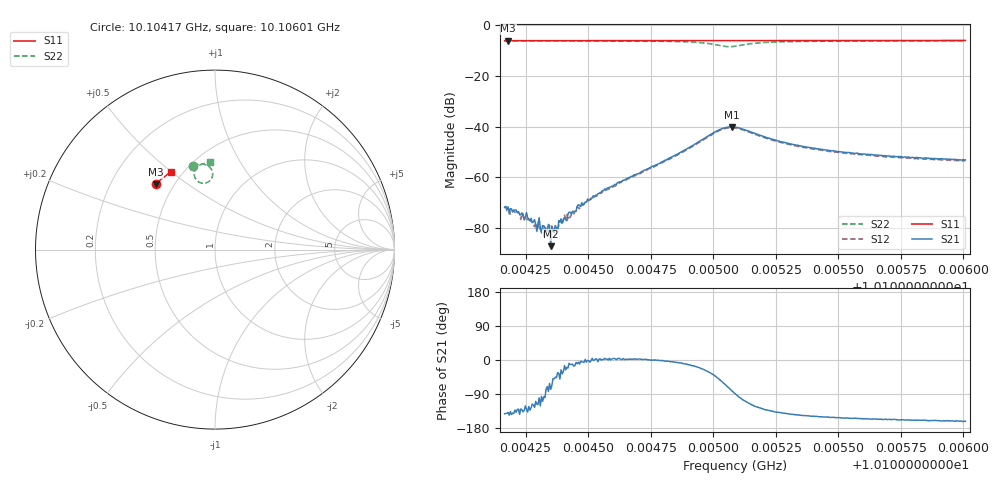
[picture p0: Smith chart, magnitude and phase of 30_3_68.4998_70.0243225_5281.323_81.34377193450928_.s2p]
#  HZ  S  RI  R  50.00
! Rohde & Schwarz Vector Network Analyzer
! Rohde-Schwarz,ZNB20-2Port,1311601062101988,3.16
! Created: UTC 3/20/2024, 4:49:54 PM
! freq[Hz]  re:S11  im:S11  re:S21  im:S21  re:S12  im:S12  re:S22  im:S22
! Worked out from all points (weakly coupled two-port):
!   401 points, 10.10417 GHz to 10.10601 GHz, reference 50 ohm
!   highest |S21| = -40.15 dB at 10.10507 GHz (marker M1); lowest = -87.2 dB at 10.10435 GHz (marker M2)
!   lowest |S11| = -6.2 dB at 10.10418 GHz (marker M3), VSWR 2.94, Z = 19.9 + j19.1 ohm
!   |S11| at or under -10 dB: nowhere
!   |S22| runs from -8.5 to -6.2 dB; largest |S21 - S12| = 0.00096
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1.0104166e10  -0.3314 0.3634  -0.000199 -0.000157  -0.000171 -0.000195  -0.1231 0.4682
1.010418e10  -0.3307 0.3639  -0.000195 -0.000173  -0.000171 -0.000154  -0.1221 0.4686
1.0104217e10  -0.3291 0.3656  -0.00013 -0.000152  -0.000121 -0.000165  -0.1194 0.4693
1.0104263e10  -0.3271 0.3675  -8.26e-05 -0.000128  -8.93e-05 -0.000121  -0.1159 0.4702
1.0104286e10  -0.3261 0.3685  -8.39e-05 -0.000119  -5.06e-05 -9.25e-05  -0.1142 0.4708
1.0104318e10  -0.3246 0.3699  -3.62e-05 -0.000105  -3.22e-05 -0.000106  -0.1116 0.4714
1.010435e10  -0.3233 0.3713  9.66e-06 -4.27e-05  2.75e-05 -7.02e-05  -0.1091 0.4721
1.0104369e10  -0.3225 0.3721  7.83e-05 -7.96e-05  7.28e-05 -7.3e-05  -0.1075 0.4722
1.0104392e10  -0.3213 0.3731  0.000136 -6.61e-05  0.000131 -4.7e-05  -0.1055 0.4726
1.010441e10  -0.3206 0.3737  0.00013 -6.38e-05  0.000151 -2.59e-05  -0.1041 0.473
1.0104429e10  -0.3197 0.3746  0.000199 -4.27e-05  0.00016 -9.01e-06  -0.1025 0.4734
1.0104443e10  -0.319 0.375  0.000202 -5.96e-05  0.000188 -2.63e-05  -0.1012 0.4735
1.0104475e10  -0.3177 0.3764  0.000314 -2.68e-05  0.000285 -1.83e-06  -0.0983 0.4741
1.0104576e10  -0.3132 0.3805  0.000606 2.35e-05  0.00056 6.12e-05  -0.0886 0.4755
1.0104783e10  -0.3035 0.389  0.00185 -3.03e-05  0.0018 0.000142  -0.0612 0.4751
1.0105013e10  -0.2923 0.3974  0.00574 -0.00576  0.00598 -0.00504  -0.0157 0.4049
1.0105073e10  -0.2899 0.3994  0.00165 -0.0097  0.00241 -0.00914  -0.0669 0.3696
1.0105087e10  -0.2892 0.3998  0.000212 -0.0097  0.00105 -0.00928  -0.082 0.3726
1.0105262e10  -0.2812 0.4067  -0.00386 -0.00345  -0.0034 -0.00361  -0.1038 0.4546
1.0105396e10  -0.2747 0.4117  -0.00323 -0.00197  -0.00289 -0.00218  -0.0848 0.4706
1.0105704e10  -0.2592 0.4225  -0.00243 -0.00103  -0.00224 -0.00118  -0.054 0.4819
1.0106008e10  -0.2438 0.4324  -0.00208 -0.000689  -0.0019 -0.000852  -0.0303 0.4863
